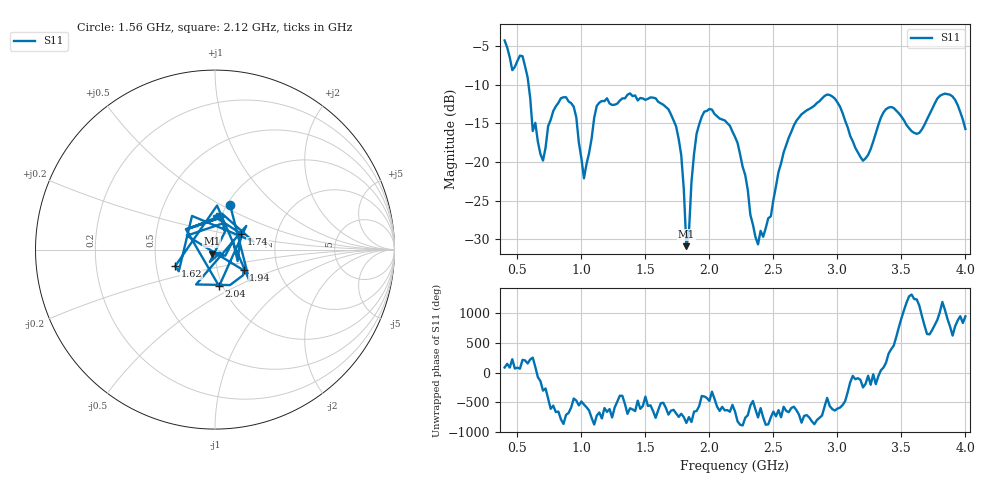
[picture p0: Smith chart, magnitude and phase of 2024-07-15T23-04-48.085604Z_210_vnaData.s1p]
!Created with skrf (http://scikit-rf.org).
# Hz S RI R 50.0
!freq ReS11 ImS11
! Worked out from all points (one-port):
!   181 points, 400 MHz to 4 GHz, reference 50 ohm
!   lowest |S11| = -30.9 dB at 1.82 GHz (marker M1), VSWR 1.06, Z = 48.2 - j2.16 ohm
!   |S11| at or under -10 dB: 587.3 MHz to end of sweep
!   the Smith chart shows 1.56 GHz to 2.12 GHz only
!   S11 on the Smith chart (normalised r, x): 1.56 GHz: 1.04, +0.55; 1.62 GHz: 0.63, -0.12; 1.74 GHz: 1.31, +0.24; 1.94 GHz: 1.33, -0.32; 2.04 GHz: 0.96, -0.41; 2.12 GHz: 0.98, +0.37
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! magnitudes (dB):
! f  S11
! 400 MHz  -4.2
! 460 MHz  -8.1
! 540 MHz  -6.3
! 700 MHz  -19.8
! 860 MHz  -11.6
! 940 MHz  -12.8
! 1.02 GHz  -22.1
! 1.12 GHz  -12.7
! 1.3 GHz  -12.0
! 1.56 GHz  -11.7
! 1.62 GHz  -12.4
! 1.74 GHz  -15.4
! 1.76 GHz  -17.0
! 1.82 GHz  -30.9
! 1.88 GHz  -19.0
! 1.94 GHz  -14.1
! 2.04 GHz  -13.8
! 2.12 GHz  -14.6
! 2.2 GHz  -16.7
! 2.38 GHz  -30.7
! 2.66 GHz  -15.3
! 2.92 GHz  -11.2
! 3.1 GHz  -16.6
! 3.2 GHz  -19.8
! 3.38 GHz  -13.1
! 3.56 GHz  -15.6
! 3.84 GHz  -11.1
! 4 GHz  -15.7
